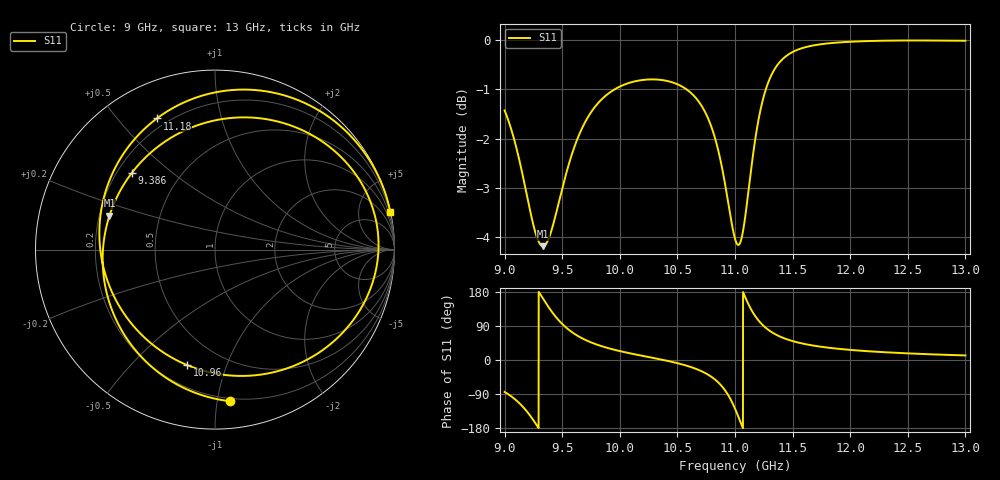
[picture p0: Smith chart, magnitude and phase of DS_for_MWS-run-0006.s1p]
! TOUCHSTONE file generated by CST DESIGN STUDIO
! Date and time: Tue Feb  4 14:35:48 2025
! Project name: C:\Work\MatlabApps\UnitCellOptimizationMatlab\CST\unitcell.cst
! Tree item: Tasks\Sweep1\SPara1\S-Parameters
! Header version: 2024
! Port assignment regex: !\s*Touchstone port\s*([0-9]+)\s*=\s*(CST MWS port|CST DES external port|CST DES block port)\s*(.+)\s* \(\"(.*)\"\)(\s*mode\s*([0-9]+))?.*
! Touchstone port assignment:
! Touchstone port 1 = CST DES external port 1 ("")
# GHz S MA R 50
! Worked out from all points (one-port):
!   4001 points, 9 GHz to 13 GHz, reference 50 ohm
!   lowest |S11| = -4.2 dB at 9.333 GHz (marker M1), VSWR 4.23, Z = 12.1 + j7.41 ohm
!   |S11| at or under -10 dB: nowhere
!   S11 on the Smith chart (normalised r, x): 9 GHz: 0.18, -1.09; 9.386 GHz: 0.26, +0.37; 10.96 GHz: 0.32, -0.74; 11.18 GHz: 0.16, +0.64; 13 GHz: 0.05, +9.48
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9  0.8487 -84.3
9.085  0.7913 -102.3
9.159  0.7274 -123.6
9.253  0.6468 -160.2
9.333  0.6177 162.1
9.386  0.6302 137.6
9.5  0.7067 95.2
9.591  0.7702 72.2
9.718  0.8334 50.6
10  0.8974 23.5
10.25  0.9124 7.8
10.5  0.9023 -8.3
10.662  0.8732 -23.5
10.779  0.8262 -41.1
10.871  0.7581 -64.2
10.961  0.6622 -103.4
11  0.6285 -128.2
11.045  0.6227 -161.7
11.084  0.6557 169.0
11.135  0.7314 136.2
11.18  0.7993 113.9
11.243  0.8712 91.5
11.328  0.9277 71.7
11.5  0.973 49.9
11.701  0.989 37.0
12  0.9966 26.7
12.5  0.9996 17.5
13  0.9989 12.0
